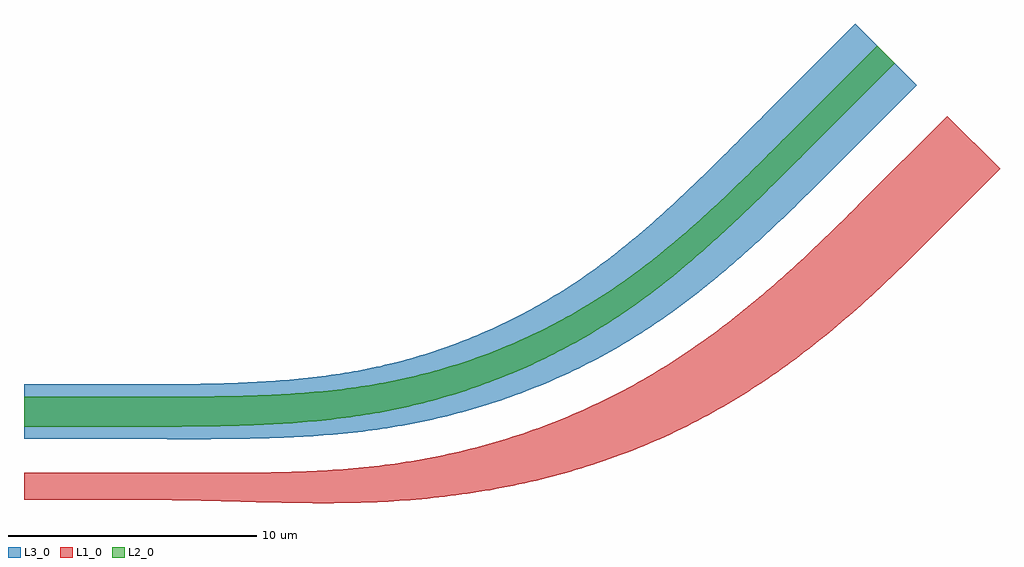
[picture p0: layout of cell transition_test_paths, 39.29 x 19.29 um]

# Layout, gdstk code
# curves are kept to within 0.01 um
import gdstk
lib = gdstk.Library(unit=1e-6, precision=1e-09)
def R(c, l, rs):  # rectangles x0, y0, x1, y1
    for r in rs: c.add(gdstk.rectangle(r[:2], r[2:], *l))
def P(c, l, *ps):  # polygons
    for p in ps: c.add(gdstk.Polygon(p, *l))
L1_0 = (1, 0)
L2_0 = (2, 0)
L3_0 = (3, 0)

extrude_3a51f5f7 = lib.new_cell('extrude_3a51f5f7')
R(extrude_3a51f5f7, L1_0, [(0,-3.55,5,-2.45)])
R(extrude_3a51f5f7, L2_0, [(0,-0.6,5,0.6)])
R(extrude_3a51f5f7, L3_0, [(0,-1.1,5,1.1)])

extrude_bd166edd = lib.new_cell('extrude_bd166edd')
P(extrude_bd166edd, L1_0, [(0,-3.55),(1.548,-3.566),(5.371,-3.662),(6.838,-3.68),(8.123,-3.671),(8.995,-3.647),(10.552,-3.558),(11.7,-3.45),(12.39,-3.366),(13.542,-3.194),(14.233,-3.07),(15.153,-2.88),(16.072,-2.662),(16.76,-2.478),(17.673,-2.207),(18.58,-1.904),(19.257,-1.655),(20.152,-1.295),(21.037,-0.901),(21.911,-0.474),(22.749,-0.026),(23.561,0.445),(24.348,0.935),(24.922,1.314),(25.846,1.965),(26.73,2.634),(27.577,3.317),(28.387,4.01),(29.163,4.707),(29.905,5.405),(30.756,6.24),(28.635,8.361),(26.983,6.745),(25.968,5.801),(25.216,5.131),(24.438,4.469),(23.796,3.947),(23.137,3.434),(22.458,2.931),(21.759,2.442),(21.039,1.968),(20.483,1.622),(19.718,1.177),(19.135,0.859),(18.146,0.363),(17.543,0.084),(16.73,-0.264),(15.699,-0.662),(14.864,-0.95),(14.021,-1.212),(13.171,-1.446),(12.316,-1.654),(11.455,-1.836),(10.374,-2.026),(9.526,-2.146),(7.845,-2.316),(7.013,-2.372),(5.777,-2.426),(3.347,-2.462),(0,-2.45)])
P(extrude_bd166edd, L2_0, [(0,-0.6),(2.704,-0.585),(4.645,-0.527),(5.812,-0.459),(6.786,-0.378),(7.565,-0.294),(8.537,-0.163),(9.506,0.001),(10.089,0.118),(10.872,0.297),(11.649,0.5),(12.419,0.728),(13.181,0.98),(13.935,1.256),(14.68,1.555),(15.415,1.878),(16.139,2.223),(16.852,2.591),(17.553,2.981),(18.242,3.393),(18.917,3.826),(19.568,4.272),(20.202,4.734),(20.823,5.212),(21.581,5.828),(22.321,6.463),(23.045,7.113),(24.595,8.579),(26.514,10.482),(25.807,11.189),(23.758,9.167),(22.364,7.862),(21.072,6.738),(20.335,6.141),(19.735,5.68),(19.123,5.236),(18.5,4.81),(17.852,4.396),(17.192,4.003),(16.519,3.631),(15.835,3.28),(15.141,2.952),(14.437,2.645),(13.723,2.36),(13.001,2.098),(12.272,1.859),(11.535,1.643),(10.792,1.45),(9.856,1.242),(9.112,1.103),(8.367,0.987),(6.866,0.81),(6.111,0.746),(4.973,0.677),(3.832,0.634),(2.686,0.611),(0,0.6)])
P(extrude_bd166edd, L3_0, [(0,-1.1),(3.297,-1.096),(5.259,-1.052),(6.247,-1.006),(7.238,-0.938),(8.829,-0.774),(9.627,-0.662),(10.635,-0.487),(11.444,-0.319),(12.249,-0.125),(13.047,0.093),(13.84,0.336),(14.43,0.534),(15.402,0.896),(16.171,1.213),(16.93,1.555),(17.678,1.922),(18.415,2.312),(19.139,2.727),(19.847,3.163),(20.528,3.614),(21.193,4.082),(22.003,4.689),(22.633,5.19),(24.003,6.355),(24.882,7.154),(25.597,7.829),(27.398,9.598),(24.923,12.073),(23.17,10.319),(21.825,9.007),(20.601,7.873),(19.489,6.914),(18.347,6.014),(17.305,5.274),(16.215,4.584),(15.087,3.951),(14.26,3.537),(13.416,3.154),(12.729,2.872),(11.858,2.55),(10.973,2.263),(10.257,2.059),(9.355,1.838),(8.636,1.689),(7.727,1.532),(6.808,1.405),(5.88,1.305),(4.758,1.216),(2.868,1.131),(0,1.1)])

extrude_457e84dc_transf_ = lib.new_cell('extrude_457e84dc_transf_947b1508')
P(extrude_457e84dc_transf_, L1_0, [(35.756,6.24),(39.292,9.775),(37.17,11.897),(33.635,8.361)])
P(extrude_457e84dc_transf_, L2_0, [(31.514,10.482),(35.049,14.018),(34.342,14.725),(30.807,11.189)])
P(extrude_457e84dc_transf_, L3_0, [(32.398,9.598),(35.933,13.134),(33.458,15.609),(29.923,12.073)])

transition_test_paths = lib.new_cell('transition_test_paths')
transition_test_paths.add(gdstk.Reference(extrude_3a51f5f7, (0,0)))
transition_test_paths.add(gdstk.Reference(extrude_bd166edd, (5,0)))
transition_test_paths.add(gdstk.Reference(extrude_457e84dc_transf_, (0,0)))

lib.write_gds('transition_test_paths.gds')
